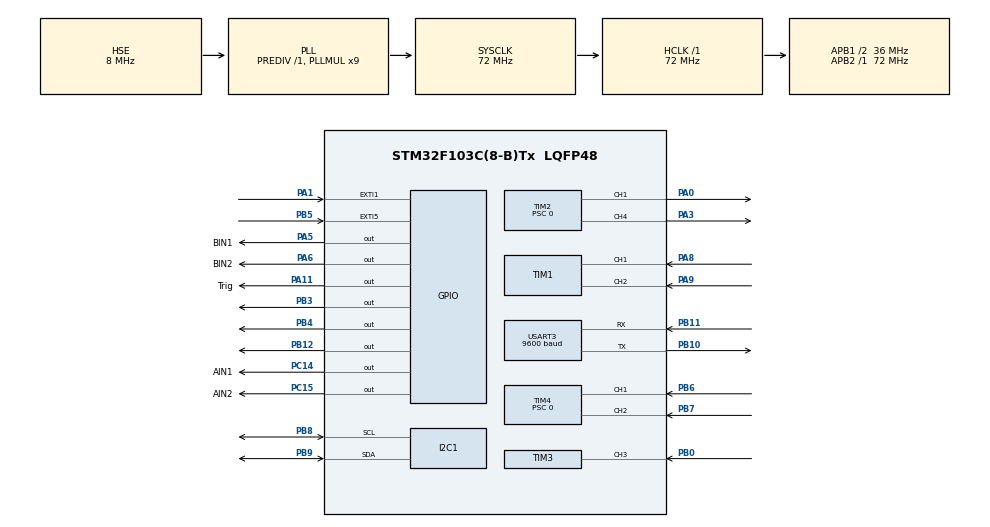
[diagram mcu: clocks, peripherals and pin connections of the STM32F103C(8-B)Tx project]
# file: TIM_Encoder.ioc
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Mcu.Family=STM32F1
Mcu.Name=STM32F103C(8-B)Tx
Mcu.Package=LQFP48
NVIC.EXTI9_5_IRQn=true\:0\:0\:false\:false\:true\:true\:true\:true
NVIC.PriorityGroup=NVIC_PRIORITYGROUP_4
NVIC.TIM3_IRQn=true\:0\:0\:false\:false\:true\:true\:true\:true
NVIC.USART3_IRQn=true\:0\:0\:false\:false\:true\:true\:true\:true
PA0-WKUP.Signal=S_TIM2_CH1_ETR
PA1.GPIO_ModeDefaultEXTI=GPIO_MODE_IT_FALLING
PA1.GPIO_PuPd=GPIO_PULLUP
PA1.Signal=GPXTI1
PA11.GPIO_Label=Trig
PA11.Signal=GPIO_Output
PA13.Mode=Serial_Wire
PA13.Signal=SYS_JTMS-SWDIO
PA14.Mode=Serial_Wire
PA14.Signal=SYS_JTCK-SWCLK
PA3.Signal=S_TIM2_CH4
PA5.GPIO_Label=BIN1
PA5.GPIO_PuPd=GPIO_PULLDOWN
PA5.Signal=GPIO_Output
PA6.GPIO_Label=BIN2
PA6.GPIO_PuPd=GPIO_PULLDOWN
PA6.Signal=GPIO_Output
PA8.Signal=S_TIM1_CH1
PA9.Signal=S_TIM1_CH2
PB0.Signal=S_TIM3_CH3
PB10.Mode=Asynchronous
PB10.Signal=USART3_TX
PB11.Mode=Asynchronous
PB11.Signal=USART3_RX
PB12.GPIO_PuPd=GPIO_PULLDOWN
PB12.Signal=GPIO_Output
PB3.Signal=GPIO_Output
PB4.Signal=GPIO_Output
PB5.GPIO_ModeDefaultEXTI=GPIO_MODE_IT_FALLING
PB5.GPIO_PuPd=GPIO_PULLUP
PB5.Signal=GPXTI5
PB6.Signal=S_TIM4_CH1
PB7.Signal=S_TIM4_CH2
PB8.Mode=I2C
PB8.Signal=I2C1_SCL
PB9.Mode=I2C
PB9.Signal=I2C1_SDA
PC14-OSC32_IN.GPIO_Label=AIN1
PC14-OSC32_IN.Signal=GPIO_Output
PC15-OSC32_OUT.GPIO_Label=AIN2
PC15-OSC32_OUT.GPIO_PuPd=GPIO_PULLDOWN
PC15-OSC32_OUT.Signal=GPIO_Output
PD0-OSC_IN.Mode=HSE-External-Oscillator
PD0-OSC_IN.Signal=RCC_OSC_IN
PD1-OSC_OUT.Mode=HSE-External-Oscillator
PD1-OSC_OUT.Signal=RCC_OSC_OUT
ProjectManager.HeapSize=0x200
ProjectManager.StackSize=0x400
ProjectManager.TargetToolchain=MDK-ARM V5.32
RCC.AHBFreq_Value=72000000
RCC.APB1CLKDivider=RCC_HCLK_DIV2
RCC.APB1Freq_Value=36000000
RCC.APB1TimFreq_Value=72000000
RCC.APB2Freq_Value=72000000
RCC.APB2TimFreq_Value=72000000
RCC.HCLKFreq_Value=72000000
RCC.PLLMUL=RCC_PLL_MUL9
RCC.PLLSourceVirtual=RCC_PLLSOURCE_HSE
RCC.SYSCLKFreq_VALUE=72000000
RCC.SYSCLKSource=RCC_SYSCLKSOURCE_PLLCLK
RCC.USBFreq_Value=72000000
SH.S_TIM1_CH1.0=TIM1_CH1,Encoder_Interface
SH.S_TIM1_CH2.0=TIM1_CH2,Encoder_Interface
SH.S_TIM2_CH1_ETR.0=TIM2_CH1,PWM Generation1 CH1
SH.S_TIM2_CH4.0=TIM2_CH4,PWM Generation4 CH4
SH.S_TIM3_CH3.0=TIM3_CH3,Input_Capture3_from_TI3
SH.S_TIM4_CH1.0=TIM4_CH1,Encoder_Interface
SH.S_TIM4_CH2.0=TIM4_CH2,Encoder_Interface
TIM1.IC1Filter=15
TIM1.IC2Filter=15
TIM1.IC2Polarity=TIM_ICPOLARITY_FALLING
TIM2.Channel-PWM\ Generation1\ CH1=TIM_CHANNEL_1
TIM2.Channel-PWM\ Generation4\ CH4=TIM_CHANNEL_4
TIM2.Period=7200-1
TIM2.Prescaler=0
TIM3.Channel-Input_Capture3_from_TI3=TIM_CHANNEL_3
TIM3.Channel-Input_Capture4_from_TI3_63=TIM_CHANNEL_4
TIM3.ICPolarity_CH4=TIM_INPUTCHANNELPOLARITY_FALLING
TIM3.Period=65535
TIM3.Prescaler=72-1
TIM4.IC1Filter=15
TIM4.IC2Filter=15
TIM4.IC2Polarity=TIM_ICPOLARITY_FALLING
TIM4.Prescaler=0
USART3.BaudRate=9600
USART3.VirtualMode=VM_ASYNC
VP_TIM2_VS_ClockSourceINT.Mode=Internal
VP_TIM3_VS_ClockSourceINT.Mode=Internal
VP_TIM3_VS_indirect_ch3.Mode=Input_Capture4_from_TI3_63
board=custom

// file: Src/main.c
/* USER CODE BEGIN Header */
/**
  ******************************************************************************
  * @file           : main.c
  * @brief          : Main program body
  ******************************************************************************
  * @attention
  *
  * Copyright (c) 2024 STMicroelectronics.
  * All rights reserved.
  *
  * This software is licensed under terms that can be found in the LICENSE file
  * in the root directory of this software component.
  * If no LICENSE file comes with this software, it is provided AS-IS.
  *
  ******************************************************************************
  */
/* USER CODE END Header */
#include "main.h"
#include "i2c.h"
#include "tim.h"
#include "usart.h"
#include "gpio.h"

/* USER CODE BEGIN Includes */
//OLED:
//	SCL:PB8
//  SDA:PB9

//HC-SR04  超声波测距：
//  Trig:PA11    (GPIO_output)
//	Echo:PB0		 (TIM3输入捕获)

//tb6612
//	PWMA:PA0
//	AIN1:PC14
//	AIN2:PC15
//	STBY:3.3V
//	VM:12V/11.47V
//	VCC:3.3V
//	AO1:M1
//	AO2:M2
//	PWMB:PA3
//	BIN1:PA5
//	BIN2:PA6
//	BO1:M1
//	BO2:M2

//左520电机
//	VCC:3.3V
//	C1:PA9			TIM1 channel2			B相
//	C2:PA8			TIM1 channel1			A相

//右电机
//	C1:PB7			TIM4 channel2			B相
//	C2:PB6			TIM4 channel1			A相

//MPU6050
//	SCL:PB4
//	SDA:PB3
//	INT:PB5			EXIT5,触发control

//HC-06蓝牙
//	VCC:3.3
//	单片机TX:PB10  <-->  蓝牙RX
//	单片机RX:PB11  <-->  蓝牙TX
//	获取APP指令的中断在stm32f1xx_it.c文件234行

#include "stdio.h"
#include "stdlib.h"
#include "string.h"
#include "oled.h"
#include "tb6612.h"
#include "hc_sr04.h"
#include "IIC.h"
#include "inv_mpu.h"
#include "mpu6050.h"
#include "inv_mpu_dmp_motion_driver.h"
#include "encoder.h"
#include "pid.h"

/* USER CODE END Includes */

/* USER CODE BEGIN PM */
char message[20] = "";

int count = 0;

extern float pitch,roll,yaw;								//陀螺仪三相参数

uint32_t sys_tick = 0;

extern int Encoder_Left,Encoder_Right;

extern double distance;

extern uint8_t rx_buf[2];

/* USER CODE END PM */

void SystemClock_Config(void);
/* USER CODE BEGIN PFP */

void read(void);

/* USER CODE END PFP */

int main(void)
{

  /* MCU Configuration--------------------------------------------------------*/

  /* Reset of all peripherals, Initializes the Flash interface and the Systick. */
  HAL_Init();

  /* Configure the system clock */
  SystemClock_Config();

  /* Initialize all configured peripherals */
  MX_GPIO_Init();
  MX_I2C1_Init();
  MX_TIM3_Init();
  MX_TIM4_Init();
  MX_TIM2_Init();
  MX_TIM1_Init();
  MX_USART3_UART_Init();
  /* USER CODE BEGIN 2 */

	OLED_Init();
	TB6612_Init();
	MPU_Init();																				//陀螺仪初始化
	mpu_dmp_init();																		//dmp初始化
	Load(0,0);																				//电机初始速度为0
	HAL_TIM_Base_Start(&htim3);												//tim3无更新中断，不加_IT,捕获时钟(hc-sr04)
	//HAL_TIM_Base_Start_IT(&htim3);									//tim3的内部时钟中断，用于测量陀螺仪角度
	HAL_NVIC_SetPriority(EXTI9_5_IRQn, 0, 0);					//设置外部中断优先级
  HAL_NVIC_EnableIRQ(EXTI9_5_IRQn);									//使能外部中断
	HAL_TIM_PWM_Start(&htim2,TIM_CHANNEL_1);					//左电机
	HAL_TIM_PWM_Start(&htim2,TIM_CHANNEL_4);					//右电机
	HAL_TIM_Encoder_Start(&htim1,TIM_CHANNEL_ALL);		//编码器
	HAL_TIM_Encoder_Start(&htim4,TIM_CHANNEL_ALL);		//编码器
	HAL_TIM_IC_Start(&htim3,TIM_CHANNEL_3);						//启动输入捕获的语句，IC：Input Capture
	HAL_TIM_IC_Start_IT(&htim3,TIM_CHANNEL_4);				//在获得两个捕获的值之后需要进行计算，所以需要开一个比较中断，加个_IT
	HAL_UART_Receive_IT(&huart3,rx_buf,1);

	OLED_Clear();
	sprintf(message,"Init is OK");
	OLED_ShowString(1,3,(uint8_t *)message,12);
	HAL_Delay(500);
	OLED_Clear();

  /* USER CODE END 2 */

  /* Infinite loop */
  while (1)
  {

    /* USER CODE BEGIN 3 */

//			sprintf(message,"Encoder_L:%d   ",Encoder_Left);
//			OLED_ShowString(1,0,(uint8_t *)message,12);
//			sprintf(message,"Encoder_R:%d   ",Encoder_Right);
//			OLED_ShowString(1,1,(uint8_t *)message,12);
//			sprintf(message,"roll:%.1f   ",roll);
//			OLED_ShowString(1,2,(uint8_t *)message,12);
//			GetDistence();
//			sprintf(message,"dis:%.1fcm  ",distance);
//			OLED_ShowString(1,3,(uint8_t *)message,12);

			//一定要尝试加在陀螺仪给的中断里面
			Control();

	}
  /* USER CODE END 3 */
}

void SystemClock_Config(void)
{
  RCC_OscInitTypeDef RCC_OscInitStruct = {0};
  RCC_ClkInitTypeDef RCC_ClkInitStruct = {0};

  /** Initializes the RCC Oscillators according to the specified parameters
  * in the RCC_OscInitTypeDef structure.
  */
  RCC_OscInitStruct.OscillatorType = RCC_OSCILLATORTYPE_HSE;
  RCC_OscInitStruct.HSEState = RCC_HSE_ON;
  RCC_OscInitStruct.HSEPredivValue = RCC_HSE_PREDIV_DIV1;
  RCC_OscInitStruct.HSIState = RCC_HSI_ON;
  RCC_OscInitStruct.PLL.PLLState = RCC_PLL_ON;
  RCC_OscInitStruct.PLL.PLLSource = RCC_PLLSOURCE_HSE;
  RCC_OscInitStruct.PLL.PLLMUL = RCC_PLL_MUL9;
  if (HAL_RCC_OscConfig(&RCC_OscInitStruct) != HAL_OK)
  {
    Error_Handler();
  }

  /** Initializes the CPU, AHB and APB buses clocks
  */
  RCC_ClkInitStruct.ClockType = RCC_CLOCKTYPE_HCLK|RCC_CLOCKTYPE_SYSCLK
                              |RCC_CLOCKTYPE_PCLK1|RCC_CLOCKTYPE_PCLK2;
  RCC_ClkInitStruct.SYSCLKSource = RCC_SYSCLKSOURCE_PLLCLK;
  RCC_ClkInitStruct.AHBCLKDivider = RCC_SYSCLK_DIV1;
  RCC_ClkInitStruct.APB1CLKDivider = RCC_HCLK_DIV2;
  RCC_ClkInitStruct.APB2CLKDivider = RCC_HCLK_DIV1;

  if (HAL_RCC_ClockConfig(&RCC_ClkInitStruct, FLASH_LATENCY_2) != HAL_OK)
  {
    Error_Handler();
  }
}

/* USER CODE BEGIN 4 */

//内部时钟中断回调函数
void HAL_TIM_PeriodElapsedCallback(TIM_HandleTypeDef  *htim)
{
	if(htim == &htim3)
	{

	}
}

//
void read(void)
{
	//在系统定义中，uwTick每1ms递增一次
	if(uwTick - sys_tick < 10)							//10ms触发一次
		return ;
	sys_tick = uwTick;
	Encoder_Left = ReadSpeed(&htim1);

	Encoder_Right = - ReadSpeed(&htim4);
}

/* USER CODE END 4 */

void Error_Handler(void)
{
  __disable_irq();
  while (1)
  {
  }
}
